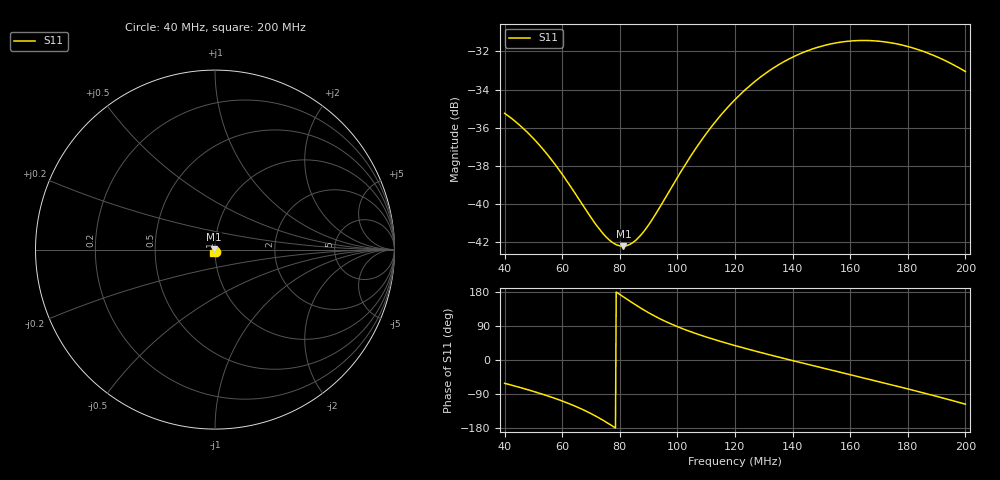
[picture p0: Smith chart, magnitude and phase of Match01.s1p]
# Hz S RI R 50
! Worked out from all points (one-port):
!   641 points, 40 MHz to 200 MHz, reference 50 ohm
!   lowest |S11| = -42.2 dB at 81.25 MHz (marker M1), VSWR 1.02, Z = 49.3 + j0.176 ohm
!   |S11| at or under -10 dB: start of sweep to end of sweep
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4e7  0.00827 -0.0152
4.475e7  0.00522 -0.0154
5e7  0.00186 -0.0147
5.475e7  -0.000988 -0.0135
6e7  -0.00374 -0.0114
6.975e7  -0.00716 -0.00591
7.325e7  -0.00773 -0.00362
7.675e7  -0.00791 -0.00126
8e7  -0.00772 0.000948
8.125e7  -0.00755 0.00179
8.45e7  -0.00689 0.00392
8.825e7  -0.00571 0.00624
9.225e7  -0.00401 0.00846
1e8  0.000395 0.0117
1.0525e8  0.00399 0.013
1.1025e8  0.00766 0.0133
1.15e8  0.0112 0.0129
1.2e8  0.0148 0.0116
1.2475e8  0.0179 0.00958
1.2975e8  0.0207 0.00678
1.3475e8  0.0228 0.00338
1.4e8  0.0243 -0.000669
1.5e8  0.0243 -0.00897
1.6e8  0.0209 -0.0167
1.7e8  0.0144 -0.0225
1.8e8  0.00616 -0.0251
1.8975e8  -0.00228 -0.0243
2e8  -0.00997 -0.0199
